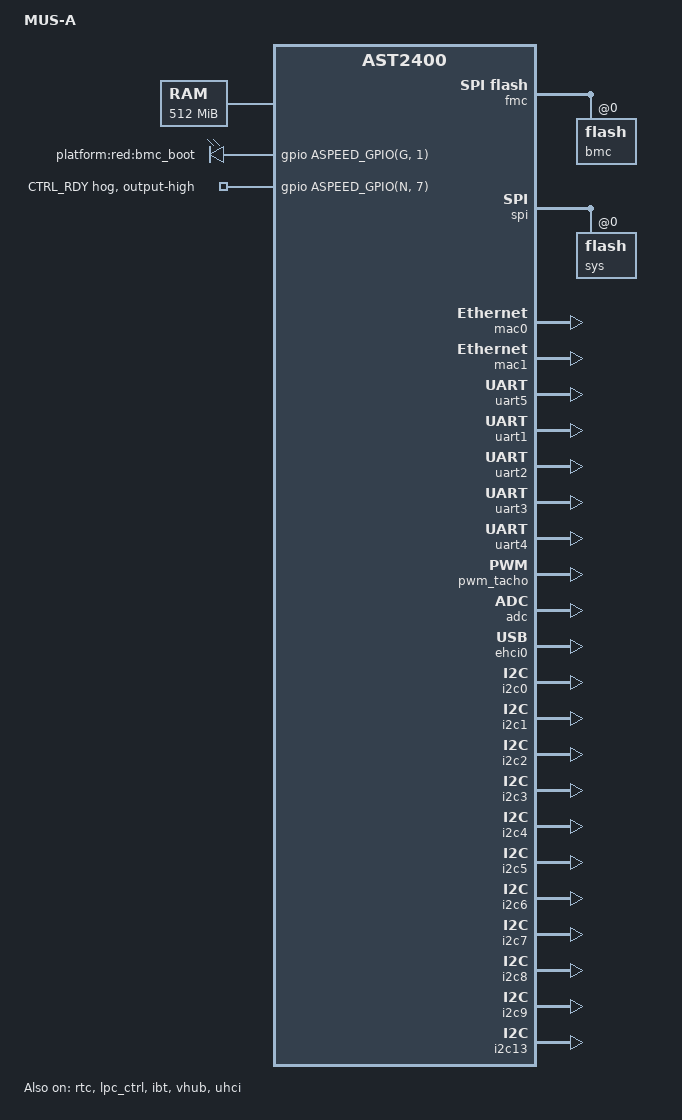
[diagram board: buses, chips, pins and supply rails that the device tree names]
// SPDX-License-Identifier: GPL-2.0+
// Copyright 2020 MCST
/dts-v1/;

#include "aspeed-g4.dtsi"
#include <dt-bindings/gpio/aspeed-gpio.h>

/ {
	model = "MUS-A";
	compatible = "mcst,mus-a", "aspeed,ast2400";
	aliases {
		serial1 = &uart2; /* AST - Service connector */
		serial0 = &uart1; /* AST - IOHUB ttyS1 */
	};
	chosen {
		stdout-path = "serial1:115200n8";
		bootargs = "console=ttyS1,115200 earlyprintk";
	};

	memory {
		reg = <0x40000000 0x20000000>;
	};

	reserved-memory {
		ranges;

		vga_memory: framebuffer@5f000000 {
			no-map;
			reg = <0x5f000000 0x01000000>; /* 16MB */
		};
		flash_memory: region@5c000000 {
			no-map;
			reg = <0x5c000000 0x02000000>; /* 32M */
		};
	};

	leds {
		compatible = "gpio-leds";
		bmc_boot {
			label = "platform:red:bmc_boot";
			gpios = <&gpio ASPEED_GPIO(G, 1) GPIO_ACTIVE_HIGH>;
			linux,default-trigger = "timer";
		};
	};
};

&rtc {
	status = "okay";
};

&gpio {
	gpioready {
		gpios = <ASPEED_GPIO(N, 7) GPIO_ACTIVE_HIGH>;
		gpio-hog;
		output-high;
		line-name = "CTRL_RDY";
	};
};

&fmc {
	status = "okay";
	flash@0 {
		status = "okay";
		m25p,fast-read;
		label = "bmc";
		#include "openbmc-flash-layout.dtsi"
	};
};

&spi {
	status = "okay";
	pinctrl-names = "default";
	pinctrl-0 = <&pinctrl_spi1_default>;
	flash@0 {
		status = "okay";
		label = "sys";
		m25p,fast-read;
	};
};

&mac0 {
	status = "okay";
	no-hw-checksum;
};

&mac1 {
	status = "okay";
	no-hw-checksum;
};

&uart5 {
	status = "okay";
};

&lpc_ctrl {
	status = "okay";
	memory-region = <&flash_memory>;
	flash = <&spi>;
};

&ibt {
	status = "okay";
};

&uart1 {
	status = "okay";
	pinctrl-names = "default";
	pinctrl-0 = <&pinctrl_txd1_default &pinctrl_rxd1_default>;
};

&uart2 {
	status = "okay";
	pinctrl-names = "default";
	pinctrl-0 = <&pinctrl_txd2_default &pinctrl_rxd2_default>;
};

&uart3 {
	status = "okay";
	pinctrl-names = "default";
	pinctrl-0 = <&pinctrl_txd3_default &pinctrl_rxd3_default>;
};

&uart4 {
	status = "okay";
	pinctrl-names = "default";
	pinctrl-0 = <&pinctrl_txd4_default &pinctrl_rxd4_default>;
};

&pwm_tacho {
	status = "okay";
	fan@0 {
		reg = <0x00>;
		aspeed,fan-tach-ch = /bits/ 8 <0x07>;
	};
	fan@1 {
		reg = <0x01>;
		aspeed,fan-tach-ch = /bits/ 8 <0x08>;
	};
	fan@2 {
		reg = <0x02>;
		aspeed,fan-tach-ch = /bits/ 8 <0x09>;
	};
	fan@3 {
		reg = <0x03>;
		aspeed,fan-tach-ch = /bits/ 8 <0x0a>;
	};
	fan@4 {
		reg = <0x04>;
		aspeed,fan-tach-ch = /bits/ 8 <0x0c>;
	};
	fan@5 {
		reg = <0x05>;
		aspeed,fan-tach-ch = /bits/ 8 <0x0d>;
	};
	fan@6 {
		reg = <0x06>;
		aspeed,fan-tach-ch = /bits/ 8 <0x0e>;
	};
	fan@7 {
		reg = <0x07>;
		aspeed,fan-tach-ch = /bits/ 8 <0x0f>;
	};
};

&adc {
	status = "okay";
};

&vhub {
	status = "okay";
};

&uhci {
	status = "okay";
};

&ehci0 {
	status = "okay";
};

&i2c0 {
	status = "okay";
};

&i2c1 {
	status = "okay";
};

&i2c2 {
	status = "okay";
};

&i2c3 {
	status = "okay";
};

&i2c4 {
	status = "okay";
};

&i2c5 {
	status = "okay";
};

&i2c6 {
	status = "okay";
};

&i2c7 {
	status = "okay";
};

&i2c8 {
	status = "okay";
};

&i2c9 {
	status = "okay";
};

&i2c13 {
	status = "okay";
};
